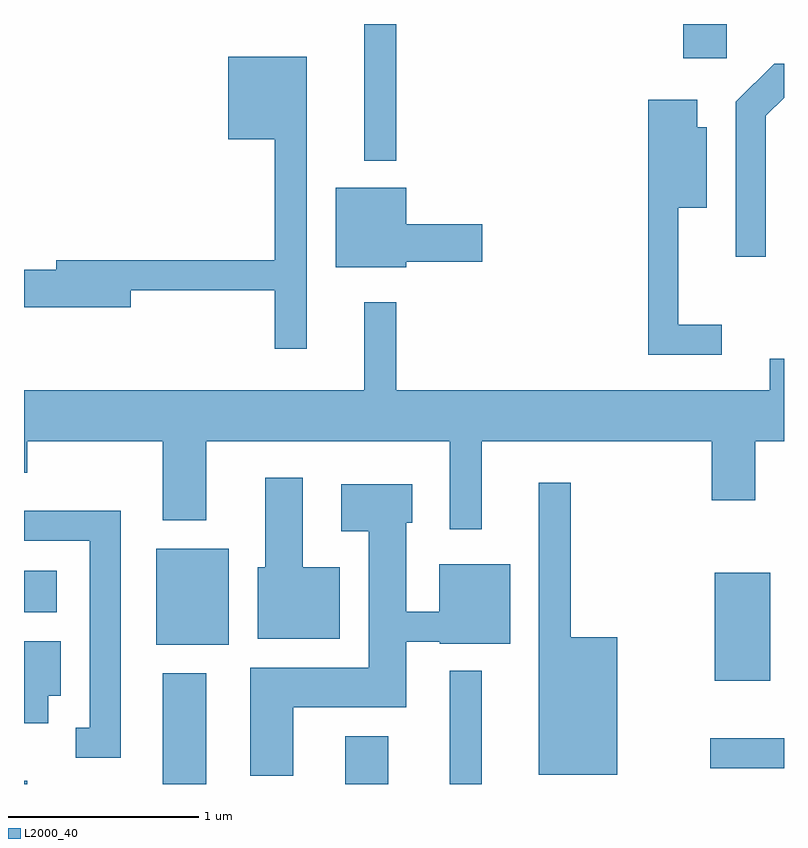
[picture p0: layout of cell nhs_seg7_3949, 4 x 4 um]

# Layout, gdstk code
import gdstk
lib = gdstk.Library(unit=1e-6, precision=1e-09)
def R(c, l, rs):  # rectangles x0, y0, x1, y1
    for r in rs: c.add(gdstk.rectangle(r[:2], r[2:], *l))
def P(c, l, *ps):  # polygons
    for p in ps: c.add(gdstk.Polygon(p, *l))
L2000_40 = (2000, 40)

nhs_seg7_3949 = lib.new_cell('nhs_seg7_3949')
R(nhs_seg7_3949, L2000_40, [(305.611,1750.252,305.629,1750.269), (306.341,1750.252,306.569,1750.834), (307.301,1750.252,307.529,1750.504), (307.851,1750.252,308.019,1750.848), (309.223,1750.336,309.611,1750.494), (309.246,1750.796,309.539,1751.364), (306.306,1750.986,306.689,1751.489), (305.611,1751.156,305.784,1751.374), (307.401,1753.533,307.569,1754.252), (309.081,1754.071,309.309,1754.252)])
P(nhs_seg7_3949, L2000_40, [(307.099,1754.079),(306.686,1754.079),(306.686,1753.646),(306.931,1753.646),(306.931,1753.009),(305.781,1753.009),(305.781,1752.959),(305.611,1752.959),(305.611,1752.761),(306.174,1752.761),(306.174,1752.851),(306.931,1752.851),(306.931,1752.543),(307.099,1752.543)],
  [(309.514,1753.769),(309.611,1753.865),(309.611,1754.044),(309.559,1754.044),(309.356,1753.842),(309.356,1753.028),(309.514,1753.028)],
  [(309.283,1752.669),(309.054,1752.669),(309.054,1753.286),(309.204,1753.286),(309.204,1753.709),(309.154,1753.709),(309.154,1753.854),(308.896,1753.854),(308.896,1752.511),(309.283,1752.511)],
  [(307.624,1753.001),(308.024,1753.001),(308.024,1753.199),(307.624,1753.199),(307.624,1753.389),(307.251,1753.389),(307.251,1752.971),(307.624,1752.971)],
  [(308.019,1752.056),(309.231,1752.056),(309.231,1751.746),(309.459,1751.746),(309.459,1752.056),(309.611,1752.056),(309.611,1752.489),(309.536,1752.489),(309.536,1752.324),(307.569,1752.324),(307.569,1752.788),(307.401,1752.788),(307.401,1752.324),(305.611,1752.324),(305.611,1751.891),(305.629,1751.891),(305.629,1752.056),(306.341,1752.056),(306.341,1751.641),(306.569,1751.641),(306.569,1752.056),(307.851,1752.056),(307.851,1751.593),(308.019,1751.593)],
  [(307.274,1751.394),(307.079,1751.394),(307.079,1751.864),(306.881,1751.864),(306.881,1751.394),(306.841,1751.394),(306.841,1751.016),(307.274,1751.016)],
  [(308.734,1751.024),(308.489,1751.024),(308.489,1751.838),(308.321,1751.838),(308.321,1750.301),(308.734,1750.301)],
  [(307.029,1750.656),(307.624,1750.656),(307.624,1751.001),(307.8,1751.001),(307.8,1750.991),(308.169,1750.991),(308.169,1751.409),(307.796,1751.409),(307.796,1751.159),(307.624,1751.159),(307.624,1751.626),(307.654,1751.626),(307.654,1751.829),(307.281,1751.829),(307.281,1751.581),(307.426,1751.581),(307.426,1750.864),(306.801,1750.864),(306.801,1750.296),(307.029,1750.296)],
  [(306.119,1751.689),(305.611,1751.689),(305.611,1751.531),(305.956,1751.531),(305.956,1750.549),(305.883,1750.549),(305.883,1750.391),(306.119,1750.391)],
  [(305.739,1750.716),(305.804,1750.716),(305.804,1751.004),(305.611,1751.004),(305.611,1750.571),(305.739,1750.571)])

lib.write_gds('nhs_seg7_3949.gds')
